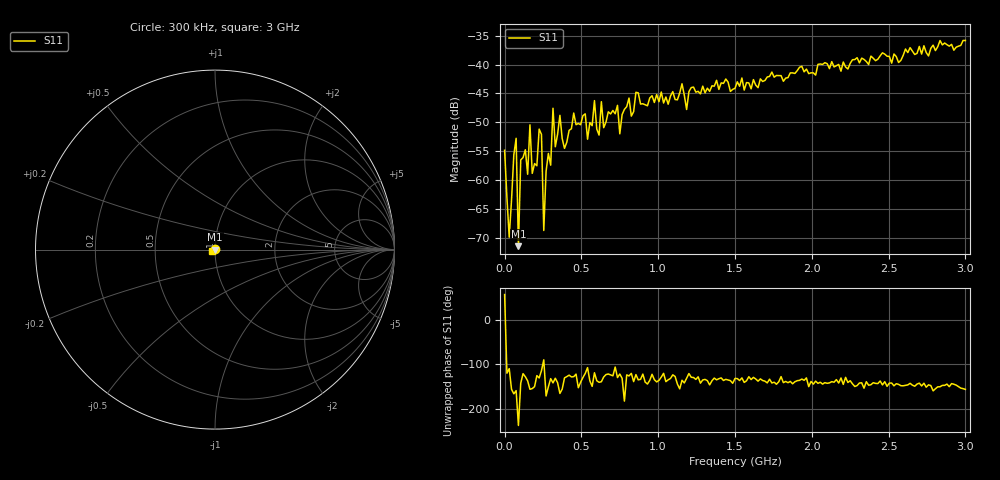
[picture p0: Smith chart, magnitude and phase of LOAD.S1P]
! HP8714ES: E.06.01
! Reflection DATA:
# MHz  S  RI  R 50.0
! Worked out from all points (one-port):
!   201 points, 300 kHz to 3 GHz, reference 50 ohm
!   lowest |S11| = -71.5 dB at 90.29 MHz (marker M1), VSWR 1.00, Z = 50 + j0.0227 ohm
!   |S11| at or under -10 dB: start of sweep to end of sweep
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0.3  0.000937 0.00155
30.297  -0.000106 -0.000301
75.293  -0.00215 -0.00081
90.291  -0.00014 0.000227
105.29  -0.00118 -0.000907
150.285  -0.000822 -0.00076
165.284  -0.00275 -0.00121
180.282  -0.00103 -0.000487
240.276  -0.00101 -0.00227
255.274  4.07e-06 -0.000365
270.273  -0.00117 -0.000176
300.27  -0.000899 -0.000997
315.269  -0.00329 -0.00258
330.267  -0.00128 -0.00146
360.264  -0.00352 -0.000894
390.261  -0.00122 -0.00143
540.246  -0.000665 -0.00215
585.241  -0.00234 -0.00427
615.239  -0.00189 -0.00156
630.237  -0.00361 -0.00312
750.225  -0.00132 -0.00214
855.215  -0.00314 -0.00483
1125.188  -0.00403 -0.00288
1500.15  -0.00414 -0.00464
1890.111  -0.00634 -0.00548
2250.075  -0.00748 -0.007
2640.036  -0.0112 -0.00848
3000  -0.0148 -0.00645
